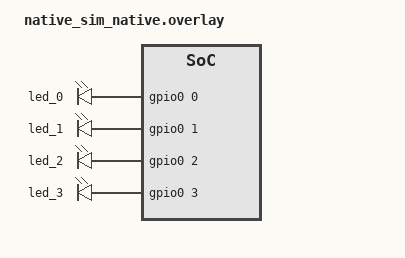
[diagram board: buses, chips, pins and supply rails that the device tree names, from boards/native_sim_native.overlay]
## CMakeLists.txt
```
# SPDX-License-Identifier: BSD-3-Clause

cmake_minimum_required(VERSION 3.20.0)
find_package(Zephyr REQUIRED HINTS $ENV{ZEPHYR_BASE})
project(mrubyc_ncs_sample)

target_sources(app PRIVATE src/main.c src/led.c)
```

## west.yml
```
manifest:
  self:
    path: mrubyc-ncs-sample
  projects:
    - name: nrf
      url: https://github.com/nrfconnect/sdk-nrf
      revision: v3.4.2
      import: true
    - name: mrubyc-zephyr
      url: https://github.com/OpenBlink/mrubyc-zephyr
      revision: v4.0.0
      path: modules/lib/mrubyc-zephyr
```

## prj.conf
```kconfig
# mruby/c runtime (OpenBlink/mrubyc-zephyr module)
CONFIG_MRUBYC=y

# Console output for Ruby puts and printk
CONFIG_PRINTK=y

# GPIO for the on-board LEDs
CONFIG_GPIO=y

# Stack for the Zephyr main thread that runs the mruby/c scheduler
CONFIG_MAIN_STACK_SIZE=4096

# The 1 ms mruby/c HAL timer must be an integer number of system ticks
CONFIG_SYS_CLOCK_TICKS_PER_SEC=1000
```

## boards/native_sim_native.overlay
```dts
/*
 * SPDX-License-Identifier: BSD-3-Clause
 *
 * Map four pins of the existing gpio-emul controller to led0..led3 so the
 * sample can run on native_sim/native without nRF54L15-DK hardware.
 */

#include <zephyr/dt-bindings/gpio/gpio.h>

/ {
	leds {
		compatible = "gpio-leds";
		led_0: led_0 {
			gpios = <&gpio0 0 GPIO_ACTIVE_HIGH>;
		};
		led_1: led_1 {
			gpios = <&gpio0 1 GPIO_ACTIVE_HIGH>;
		};
		led_2: led_2 {
			gpios = <&gpio0 2 GPIO_ACTIVE_HIGH>;
		};
		led_3: led_3 {
			gpios = <&gpio0 3 GPIO_ACTIVE_HIGH>;
		};
	};

	aliases {
		led0 = &led_0;
		led1 = &led_1;
		led2 = &led_2;
		led3 = &led_3;
	};
};
```

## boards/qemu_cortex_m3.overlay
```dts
/*
 * SPDX-License-Identifier: BSD-3-Clause
 *
 * Map four GPIO pins of the emulated Stellaris MCU to led0..led3 so the
 * sample can run on qemu_cortex_m3 without nRF54L15-DK hardware.
 */

#include <zephyr/dt-bindings/gpio/gpio.h>

/ {
	leds {
		compatible = "gpio-leds";
		led_0: led_0 {
			gpios = <&gpio0 0 GPIO_ACTIVE_HIGH>;
		};
		led_1: led_1 {
			gpios = <&gpio1 0 GPIO_ACTIVE_HIGH>;
		};
		led_2: led_2 {
			gpios = <&gpio2 0 GPIO_ACTIVE_HIGH>;
		};
		led_3: led_3 {
			gpios = <&gpio3 0 GPIO_ACTIVE_HIGH>;
		};
	};

	aliases {
		led0 = &led_0;
		led1 = &led_1;
		led2 = &led_2;
		led3 = &led_3;
	};
};
```

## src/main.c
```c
/* SPDX-License-Identifier: BSD-3-Clause */

#include <stdint.h>
#include <mrubyc.h>
#include <zephyr/sys/printk.h>

#include "led.h"
#include "blink_mrb.h"
#include "heartbeat_mrb.h"

static _Alignas(8) uint8_t pool[32 * 1024];

int main(void)
{
	mrbc_init(pool, sizeof(pool));
	register_led_class(NULL);

	if (mrbc_create_task(blink_mrb, NULL) == NULL ||
	    mrbc_create_task(heartbeat_mrb, NULL) == NULL) {
		printk("Unable to load the Ruby tasks\n");
		return 1;
	}

	int result = mrbc_run();

	printk("Scheduler returned %d\n", result);
	return result == 0 ? 0 : 1;
}
```

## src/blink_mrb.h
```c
#include <stdint.h>
#ifdef __cplusplus
extern
#endif
const uint8_t blink_mrb[] = {
0x52,0x49,0x54,0x45,0x30,0x34,0x30,0x30,0x00,0x00,0x00,0x8a,0x4d,0x41,0x54,0x5a,
0x30,0x30,0x30,0x30,0x49,0x52,0x45,0x50,0x00,0x00,0x00,0x6e,0x30,0x34,0x30,0x30,
0x00,0x00,0x00,0x62,0x00,0x02,0x00,0x05,0x00,0x00,0x00,0x00,0x00,0x00,0x00,0x2c,
0x1d,0x02,0x00,0x06,0x03,0x32,0x02,0x01,0x01,0x01,0x01,0x02,0x00,0x01,0x02,0x01,
0x33,0x02,0x02,0x03,0x03,0x96,0x2f,0x02,0x03,0x01,0x01,0x02,0x01,0x33,0x02,0x04,
0x03,0x03,0x96,0x2f,0x02,0x03,0x01,0x26,0xff,0xe2,0x40,0x76,0x00,0x00,0x00,0x05,
0x00,0x03,0x4c,0x65,0x64,0x00,0x00,0x03,0x6e,0x65,0x77,0x00,0x00,0x02,0x6f,0x6e,
0x00,0x00,0x08,0x73,0x6c,0x65,0x65,0x70,0x5f,0x6d,0x73,0x00,0x00,0x03,0x6f,0x66,
0x66,0x00,0x45,0x4e,0x44,0x00,0x00,0x00,0x00,0x08,
};
```

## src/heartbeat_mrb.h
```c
#include <stdint.h>
#ifdef __cplusplus
extern
#endif
const uint8_t heartbeat_mrb[] = {
0x52,0x49,0x54,0x45,0x30,0x34,0x30,0x30,0x00,0x00,0x00,0xa6,0x4d,0x41,0x54,0x5a,
0x30,0x30,0x30,0x30,0x49,0x52,0x45,0x50,0x00,0x00,0x00,0x8a,0x30,0x34,0x30,0x30,
0x00,0x00,0x00,0x7e,0x00,0x02,0x00,0x05,0x00,0x00,0x00,0x00,0x00,0x00,0x00,0x2c,
0x5c,0x03,0x00,0x2f,0x02,0x00,0x01,0x06,0x01,0x00,0x49,0x01,0x02,0x01,0x5c,0x03,
0x01,0x01,0x04,0x01,0x5d,0x03,0x5c,0x04,0x02,0x5d,0x03,0x2f,0x02,0x00,0x01,0x0e,
0x03,0x03,0xe8,0x2f,0x02,0x01,0x01,0x26,0xff,0xdf,0x40,0x76,0x00,0x03,0x00,0x00,
0x16,0x6d,0x72,0x75,0x62,0x79,0x2f,0x63,0x20,0x6f,0x6e,0x20,0x6e,0x52,0x46,0x35,
0x34,0x4c,0x31,0x35,0x2d,0x44,0x4b,0x00,0x00,0x00,0x0a,0x68,0x65,0x61,0x72,0x74,
0x62,0x65,0x61,0x74,0x20,0x00,0x00,0x00,0x00,0x00,0x00,0x02,0x00,0x04,0x70,0x75,
0x74,0x73,0x00,0x00,0x08,0x73,0x6c,0x65,0x65,0x70,0x5f,0x6d,0x73,0x00,0x45,0x4e,
0x44,0x00,0x00,0x00,0x00,0x08,
};
```

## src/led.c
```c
/* SPDX-License-Identifier: BSD-3-Clause */

#include <stdint.h>
#include <mrubyc.h>
#include <zephyr/devicetree.h>
#include <zephyr/drivers/gpio.h>
#include <zephyr/sys/util.h>

#include "led.h"

/* led0..led3 exist on the nRF54L15-DK and in boards/qemu_cortex_m3.overlay. */
static const struct gpio_dt_spec leds[] = {
	GPIO_DT_SPEC_GET(DT_ALIAS(led0), gpios),
	GPIO_DT_SPEC_GET(DT_ALIAS(led1), gpios),
	GPIO_DT_SPEC_GET(DT_ALIAS(led2), gpios),
	GPIO_DT_SPEC_GET(DT_ALIAS(led3), gpios),
};

static int led_index(mrbc_value *v)
{
	mrbc_value pin = mrbc_instance_getiv(v, mrbc_str_to_symid("pin"));
	int index = mrbc_integer(pin);

	mrbc_decref(&pin);
	return index;
}

static void led_set_state(mrbc_value *v, int on)
{
	mrbc_value state = mrbc_bool_value(on);

	mrbc_instance_setiv(v, mrbc_str_to_symid("on"), &state);
}

static void c_led_initialize(mrbc_vm *vm, mrbc_value *v, int argc)
{
	if (argc != 1) {
		mrbc_raise(vm, MRBC_CLASS(ArgumentError), "wrong number of arguments");
		return;
	}
	if (mrbc_type(v[1]) != MRBC_TT_INTEGER) {
		mrbc_raise(vm, MRBC_CLASS(TypeError), "index must be an Integer");
		return;
	}

	int index = mrbc_integer(v[1]);

	if (index < 0 || index >= (int)ARRAY_SIZE(leds)) {
		mrbc_raise(vm, MRBC_CLASS(RangeError), "index out of range");
		return;
	}
	if (!gpio_is_ready_dt(&leds[index]) ||
	    gpio_pin_configure_dt(&leds[index], GPIO_OUTPUT_INACTIVE) < 0) {
		mrbc_raise(vm, MRBC_CLASS(IOError), "GPIO is not ready");
		return;
	}

	mrbc_value pin = mrbc_integer_value(index);

	mrbc_instance_setiv(&v[0], mrbc_str_to_symid("pin"), &pin);
	led_set_state(&v[0], 0);
}

static void c_led_on(mrbc_vm *vm, mrbc_value *v, int argc)
{
	(void)vm;
	(void)argc;
	gpio_pin_set_dt(&leds[led_index(&v[0])], 1);
	led_set_state(&v[0], 1);
	SET_NIL_RETURN();
}

static void c_led_off(mrbc_vm *vm, mrbc_value *v, int argc)
{
	(void)vm;
	(void)argc;
	gpio_pin_set_dt(&leds[led_index(&v[0])], 0);
	led_set_state(&v[0], 0);
	SET_NIL_RETURN();
}

static void c_led_on_q(mrbc_vm *vm, mrbc_value *v, int argc)
{
	(void)vm;
	(void)argc;
	mrbc_value state = mrbc_instance_getiv(&v[0], mrbc_str_to_symid("on"));

	SET_RETURN(state);
}

void register_led_class(mrbc_vm *vm)
{
	mrbc_class *cls = mrbc_define_class(vm, "Led", MRBC_CLASS(Object));

	mrbc_define_method(vm, cls, "initialize", c_led_initialize);
	mrbc_define_method(vm, cls, "on", c_led_on);
	mrbc_define_method(vm, cls, "off", c_led_off);
	mrbc_define_method(vm, cls, "on?", c_led_on_q);
}
```

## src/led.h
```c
/* SPDX-License-Identifier: BSD-3-Clause */

#ifndef LED_H
#define LED_H

#include <mrubyc.h>

/* Registers the Led class. Call after mrbc_init() and before mrbc_create_task(). */
void register_led_class(mrbc_vm *vm);

#endif
```
